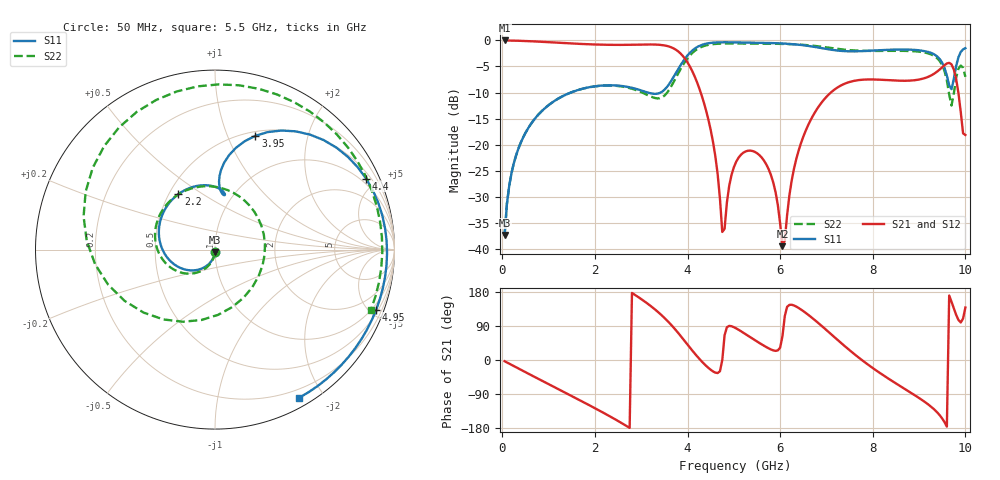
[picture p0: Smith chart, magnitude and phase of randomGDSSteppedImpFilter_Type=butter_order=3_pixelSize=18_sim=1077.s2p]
! freq	dB(S11)	phase(S11)	dB(S12)	phase(S12)
!  dB(S21)	phase(S21)	dB(S22)	phase(S22)
!S-par simulation data
#  GHz  S  DB  R 50
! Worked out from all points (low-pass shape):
!   200 points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, 50 MHz to 10 GHz, reference 50 ohm
!   highest |S21| = -0.01 dB at 50 MHz (marker M1); lowest = -39.5 dB at 6.05 GHz (marker M2)
!   |S21| within 3 dB of the highest: start of sweep to 3.901 GHz
!   lowest |S11| = -37.3 dB at 50 MHz (marker M3), VSWR 1.03, Z = 50 - j1.36 ohm
!   |S11| at or under -10 dB: start of sweep to 1.479 GHz; 3.142 GHz to 3.417 GHz (274.6 MHz wide, 8.37 % of centre)
!   |S22| runs from -37.3 to -0.6 dB; largest |S21 - S12| = 0
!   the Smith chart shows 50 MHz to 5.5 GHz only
!   S11 on the Smith chart (normalised r, x): 50 MHz: 1.00, -0.03; 2.2 GHz: 0.56, +0.40; 3.95 GHz: 0.55, +1.27; 4.4 GHz: 0.74, +4.36; 4.95 GHz: 0.66, -5.45; 5.5 GHz: 0.10, -1.72
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0.05  -37.31 -90.4  -0.01 -3.3  -0.01 -3.3  -37.30 -89.9
0.5  -17.75 -125.2  -0.12 -32.1  -0.12 -32.1  -17.74 -119.9
1.75  -9.23 151.4  -0.70 -111.1  -0.70 -111.1  -9.23 165.3
2.2  -8.63 123.3  -0.83 -140.3  -0.83 -140.3  -8.66 135.0
2.85  -9.20 88.5  -0.83 173.0  -0.83 173.0  -9.41 77.7
3.4  -10.08 82.4  -0.85 122.6  -0.85 122.6  -11.09 -18.0
3.95  -3.44 70.4  -3.57 48.4  -3.57 48.4  -4.06 -161.9
4.4  -0.63 25.1  -13.43 -15.2  -13.43 -15.2  -0.95 111.4
4.75  -0.36 -5.2  -36.74 -0.3  -36.74 -0.3  -0.61 61.7
4.95  -0.37 -20.5  -25.79 89.1  -25.79 89.1  -0.59 37.5
5.05  -0.38 -27.8  -23.28 83.5  -23.28 83.5  -0.60 26.1
5.5  -0.45 -60.3  -21.63 48.9  -21.63 48.9  -0.62 -21.3
5.85  -0.52 -87.0  -27.22 25.5  -27.22 25.5  -0.64 -55.4
6.05  -0.59 -103.9  -39.46 63.0  -39.46 63.0  -0.67 -74.1
6.7  -1.18 -172.8  -14.58 110.2  -14.58 110.2  -1.01 -132.6
7.4  -2.07 88.4  -8.28 36.1  -8.28 36.1  -1.79 168.6
7.85  -2.02 33.0  -7.50 -8.0  -7.50 -8.0  -2.01 132.1
8.35  -1.80 -11.3  -7.64 -50.1  -7.64 -50.1  -2.01 90.0
9.2  -2.23 -64.8  -6.97 -117.5  -6.97 -117.5  -2.50 13.5
9.7  -9.35 -60.2  -4.60 153.8  -4.60 153.8  -12.49 -10.5
9.9  -2.23 -52.8  -13.74 99.0  -13.74 99.0  -4.83 -18.8
10  -1.49 -64.6  -18.14 138.5  -18.14 138.5  -6.99 -62.1
